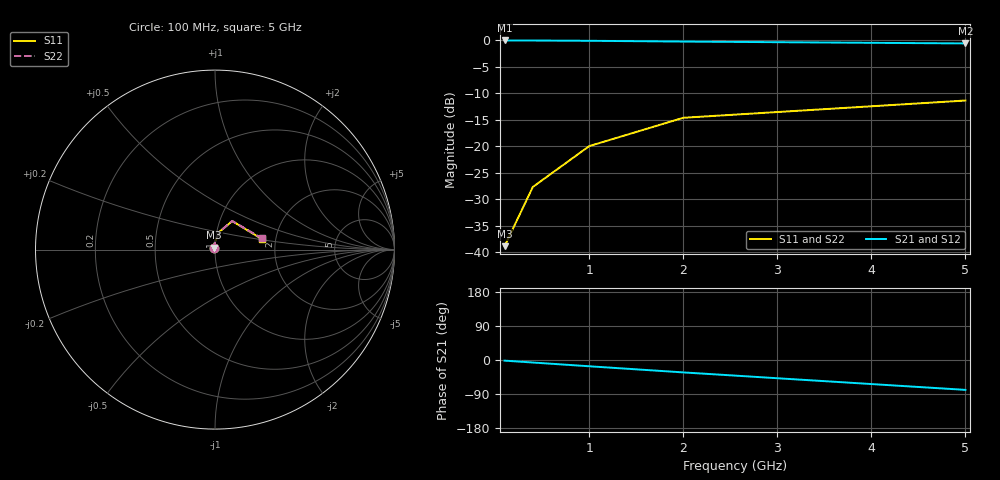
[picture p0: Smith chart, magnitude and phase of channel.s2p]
! Raw Palace field extraction; port order: U1.OUT, U2.IN
# Hz S RI R 50
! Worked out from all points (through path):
!   5 points, 100 MHz to 5 GHz, reference 50 ohm
!   highest |S21| = -0.04 dB at 100 MHz (marker M1); lowest = -0.6 dB at 5 GHz (marker M2)
!   lowest |S11| = -38.8 dB at 100 MHz (marker M3), VSWR 1.02, Z = 49.5 + j1.03 ohm
!   |S11| at or under -10 dB: start of sweep to end of sweep
!   |S22| runs from -38.8 to -11.4 dB; largest |S21 - S12| = 1.1e-07
1e8  -0.00467 0.0104  0.9945 -0.0289  0.9945 -0.0289  -0.00467 0.0105
4e8  -0.000534 0.0413  0.9869 -0.115  0.9869 -0.115  -0.000533 0.0415
1e9  0.0232 0.0977  0.9467 -0.2814  0.9467 -0.2814  0.0232 0.0979
2e9  0.096 0.1589  0.8169 -0.5252  0.8169 -0.5252  0.0958 0.1594
5e9  0.2639 0.0573  0.1805 -0.9151  0.1805 -0.9151  0.2622 0.0621
